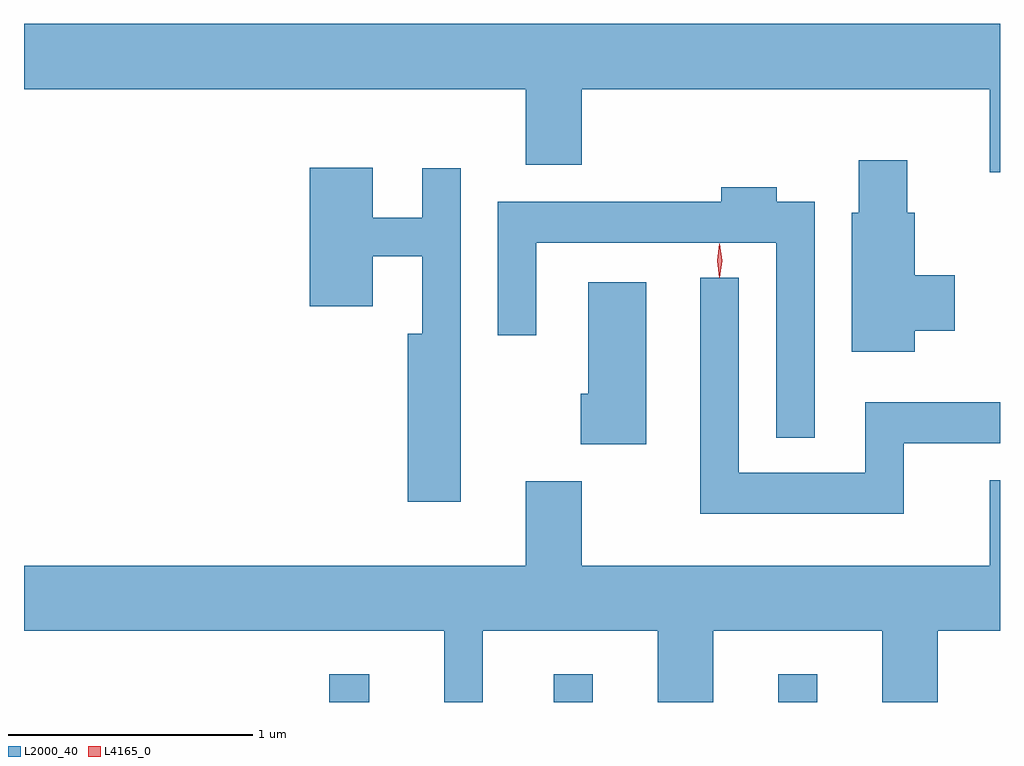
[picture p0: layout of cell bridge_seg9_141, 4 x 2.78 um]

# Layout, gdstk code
import gdstk
lib = gdstk.Library(unit=1e-6, precision=1e-09)
def R(c, l, rs):  # rectangles x0, y0, x1, y1
    for r in rs: c.add(gdstk.rectangle(r[:2], r[2:], *l))
def P(c, l, *ps):  # polygons
    for p in ps: c.add(gdstk.Polygon(p, *l))
L2000_40 = (2000, 40)
L4165_0 = (4165, 0)

bridge_seg9_141 = lib.new_cell('bridge_seg9_141')
R(bridge_seg9_141, L2000_40, [(1398.236,2069.224,1398.399,2069.338), (1399.156,2069.224,1399.314,2069.338), (1400.076,2069.224,1400.234,2069.338)])
P(bridge_seg9_141, L2000_40, [(1400.984,2072.004),(1396.984,2072.004),(1396.984,2071.736),(1399.041,2071.736),(1399.041,2071.426),(1399.269,2071.426),(1399.269,2071.736),(1400.941,2071.736),(1400.941,2071.396),(1400.984,2071.396)],
  [(1400.634,2070.746),(1400.799,2070.746),(1400.799,2070.974),(1400.634,2070.974),(1400.634,2071.229),(1400.604,2071.229),(1400.604,2071.444),(1400.406,2071.444),(1400.406,2071.229),(1400.376,2071.229),(1400.376,2070.661),(1400.634,2070.661)],
  [(1398.774,2071.413),(1398.616,2071.413),(1398.616,2071.209),(1398.414,2071.209),(1398.414,2071.414),(1398.156,2071.414),(1398.156,2070.846),(1398.414,2070.846),(1398.414,2071.051),(1398.616,2071.051),(1398.616,2070.734),(1398.556,2070.734),(1398.556,2070.046),(1398.774,2070.046)],
  [(1400.224,2071.274),(1400.069,2071.274),(1400.069,2071.334),(1399.841,2071.334),(1399.841,2071.274),(1398.926,2071.274),(1398.926,2070.728),(1399.084,2070.728),(1399.084,2071.106),(1400.066,2071.106),(1400.066,2070.308),(1400.224,2070.308)],
  [(1400.589,2070.286),(1400.984,2070.286),(1400.984,2070.454),(1400.431,2070.454),(1400.431,2070.164),(1399.914,2070.164),(1399.914,2070.963),(1399.756,2070.963),(1399.756,2069.996),(1400.589,2069.996)],
  [(1399.534,2070.944),(1399.296,2070.944),(1399.296,2070.489),(1399.266,2070.489),(1399.266,2070.281),(1399.534,2070.281)],
  [(1398.864,2069.516),(1399.581,2069.516),(1399.581,2069.224),(1399.809,2069.224),(1399.809,2069.516),(1400.501,2069.516),(1400.501,2069.224),(1400.729,2069.224),(1400.729,2069.516),(1400.984,2069.516),(1400.984,2070.134),(1400.941,2070.134),(1400.941,2069.784),(1399.269,2069.784),(1399.269,2070.129),(1399.041,2070.129),(1399.041,2069.784),(1396.984,2069.784),(1396.984,2069.516),(1398.706,2069.516),(1398.706,2069.224),(1398.864,2069.224)])
P(bridge_seg9_141, L4165_0, [(1399.835,2070.963),(1399.834,2070.964),(1399.825,2071.033),(1399.834,2071.102),(1399.835,2071.103),(1399.836,2071.102),(1399.845,2071.033),(1399.836,2070.964)],
  [(1399.835,2070.967),(1399.834,2070.968),(1399.825,2071.034),(1399.834,2071.1),(1399.835,2071.101),(1399.836,2071.1),(1399.845,2071.034),(1399.836,2070.968)])

lib.write_gds('bridge_seg9_141.gds')
